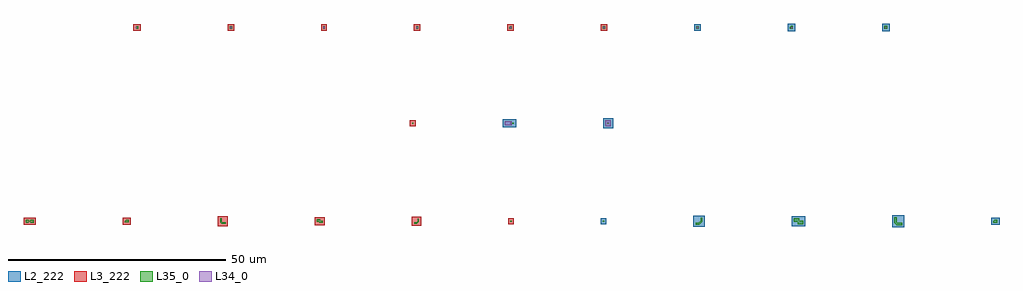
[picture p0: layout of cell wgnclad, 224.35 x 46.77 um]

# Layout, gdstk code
from math import pi, radians
import gdstk
lib = gdstk.Library(unit=1e-6, precision=5e-09)
def R(c, l, rs):  # rectangles x0, y0, x1, y1
    for r in rs: c.add(gdstk.rectangle(r[:2], r[2:], *l))
def P(c, l, *ps):  # polygons
    for p in ps: c.add(gdstk.Polygon(p, *l))
L2_222 = (2, 222)
L3_222 = (3, 222)
L34_0 = (34, 0)
L35_0 = (35, 0)

compass_3eb4a6c2 = lib.new_cell('compass_3eb4a6c2')
R(compass_3eb4a6c2, L35_0, [(-0.15,-0.15,0.15,0.15)])

rectangle_3eb4a6c2 = lib.new_cell('rectangle_3eb4a6c2')
rectangle_3eb4a6c2.add(gdstk.Reference(compass_3eb4a6c2, (0.15,0.15)))

width_basic_width0_3_lay = lib.new_cell('width_basic_width0.3_layer_(35, 0)')
width_basic_width0_3_lay.add(gdstk.Reference(rectangle_3eb4a6c2, (0,0)))

compass_be9f5536 = lib.new_cell('compass_be9f5536')
R(compass_be9f5536, L2_222, [(-0.65,-0.65,0.65,0.65)])

rectangle_be9f5536 = lib.new_cell('rectangle_be9f5536')
rectangle_be9f5536.add(gdstk.Reference(compass_be9f5536, (0.65,0.65)))

pass_fail_mk_32a2a43a = lib.new_cell('pass_fail_mk_32a2a43a')
pass_fail_mk_32a2a43a.add(gdstk.Reference(rectangle_be9f5536, (-0.5,-0.5)))
pass_fail_mk_32a2a43a.add(gdstk.Label('wgnclad.w.1', (-0.25,-0.25), layer=11, texttype=222))

compass_1de04595 = lib.new_cell('compass_1de04595')
R(compass_1de04595, L35_0, [(-0.145,-0.145,0.145,0.145)])

rectangle_1de04595 = lib.new_cell('rectangle_1de04595')
rectangle_1de04595.add(gdstk.Reference(compass_1de04595, (0.145,0.145)))

width_basic_width0_29_la = lib.new_cell('width_basic_width0.29_layer_(35, 0)')
width_basic_width0_29_la.add(gdstk.Reference(rectangle_1de04595, (0,0)))

compass_255b7973 = lib.new_cell('compass_255b7973')
R(compass_255b7973, L3_222, [(-0.645,-0.645,0.645,0.645)])

rectangle_255b7973 = lib.new_cell('rectangle_255b7973')
rectangle_255b7973.add(gdstk.Reference(compass_255b7973, (0.645,0.645)))

pass_fail_mk_e8df20d5 = lib.new_cell('pass_fail_mk_e8df20d5')
pass_fail_mk_e8df20d5.add(gdstk.Reference(rectangle_255b7973, (-0.5,-0.5)))
pass_fail_mk_e8df20d5.add(gdstk.Label('wgnclad.w.1', (-0.25,-0.25), layer=11, texttype=222))

extrude_b44e4594 = lib.new_cell('extrude_b44e4594')
P(extrude_b44e4594, L35_0, [(0,-0.2),(0.885,-0.2),(1.565,0.485),(1.565,1.365),(1.165,1.365),(1.165,0.65),(0.715,0.2),(0,0.2)])

width_45deg_width0_4_lay = lib.new_cell('width_45deg_width0.4_layer_(35, 0)')
width_45deg_width0_4_lay.add(gdstk.Reference(extrude_b44e4594, (0,0)))

compass_e8d45a11 = lib.new_cell('compass_e8d45a11')
R(compass_e8d45a11, L2_222, [(-1.285,-1.285,1.285,1.285)])

rectangle_e8d45a11 = lib.new_cell('rectangle_e8d45a11')
rectangle_e8d45a11.add(gdstk.Reference(compass_e8d45a11, (1.285,1.285)))

pass_fail_mk_358d4961 = lib.new_cell('pass_fail_mk_358d4961')
pass_fail_mk_358d4961.add(gdstk.Reference(rectangle_e8d45a11, (-0.5,-0.7)))
pass_fail_mk_358d4961.add(gdstk.Label('wgnclad.w.1', (-0.25,-0.45), layer=11, texttype=222))

extrude_67f34050 = lib.new_cell('extrude_67f34050')
P(extrude_67f34050, L35_0, [(0,-0.145),(0.64,-0.145),(1.135,0.35),(1.135,0.99),(0.845,0.99),(0.845,0.47),(0.52,0.145),(0,0.145)])

width_45deg_width0_29_la = lib.new_cell('width_45deg_width0.29_layer_(35, 0)')
width_45deg_width0_29_la.add(gdstk.Reference(extrude_67f34050, (0,0)))

compass_589e3109 = lib.new_cell('compass_589e3109')
R(compass_589e3109, L3_222, [(-1.07,-1.07,1.07,1.07)])

rectangle_589e3109 = lib.new_cell('rectangle_589e3109')
rectangle_589e3109.add(gdstk.Reference(compass_589e3109, (1.065,1.065)))

pass_fail_mk_90fb5c60 = lib.new_cell('pass_fail_mk_90fb5c60')
pass_fail_mk_90fb5c60.add(gdstk.Reference(rectangle_589e3109, (-0.5,-0.645)))
pass_fail_mk_90fb5c60.add(gdstk.Label('wgnclad.w.1', (-0.25,-0.395), layer=11, texttype=222))

boolean_8ca5d39f = lib.new_cell('boolean_8ca5d39f')
P(boolean_8ca5d39f, L35_0, [(1.2,0.8),(0.285,0.8),(0.285,1.315),(-0.915,1.315),(-0.915,0.515),(0,0.515),(0,0),(1.2,0)])

width_cor2cor_width0_4_l = lib.new_cell('width_cor2cor_width0.4_layer_(35, 0)')
width_cor2cor_width0_4_l.add(gdstk.Reference(boolean_8ca5d39f, (0,0)))

compass_4797e808 = lib.new_cell('compass_4797e808')
R(compass_4797e808, L2_222, [(-1.56,-1.16,1.56,1.16)])

rectangle_4797e808 = lib.new_cell('rectangle_4797e808')
rectangle_4797e808.add(gdstk.Reference(compass_4797e808, (1.56,1.16)))

pass_fail_mk_f3520097 = lib.new_cell('pass_fail_mk_f3520097')
pass_fail_mk_f3520097.add(gdstk.Reference(rectangle_4797e808, (-1.415,-0.5)))
pass_fail_mk_f3520097.add(gdstk.Label('wgnclad.w.1', (-1.165,-0.25), layer=11, texttype=222))

boolean_d1fc33bf = lib.new_cell('boolean_d1fc33bf')
P(boolean_d1fc33bf, L35_0, [(0.75,0.5),(0.175,0.5),(0.175,0.825),(-0.575,0.825),(-0.575,0.325),(0,0.325),(0,0),(0.75,0)])

width_cor2cor_width0_25_ = lib.new_cell('width_cor2cor_width0.25_layer_(35, 0)')
width_cor2cor_width0_25_.add(gdstk.Reference(boolean_d1fc33bf, (0,0)))

compass_1458ecf1 = lib.new_cell('compass_1458ecf1')
R(compass_1458ecf1, L3_222, [(-1.16,-0.91,1.16,0.91)])

rectangle_1458ecf1 = lib.new_cell('rectangle_1458ecf1')
rectangle_1458ecf1.add(gdstk.Reference(compass_1458ecf1, (1.16,0.91)))

pass_fail_mk_c01580fd = lib.new_cell('pass_fail_mk_c01580fd')
pass_fail_mk_c01580fd.add(gdstk.Reference(rectangle_1458ecf1, (-1.075,-0.5)))
pass_fail_mk_c01580fd.add(gdstk.Label('wgnclad.w.1', (-0.825,-0.25), layer=11, texttype=222))

boolean_b7aa2861 = lib.new_cell('boolean_b7aa2861')
R(boolean_b7aa2861, L35_0, [(0,-0.57,1.2,0), (-0.57,0,0,1.2)])
P(boolean_b7aa2861, L35_0, [(0,0),(-0.57,0),(-0.57,-0.005),(-0.565,-0.005),(0,-0.57),(0,-0.57)])

width_cor_45deg_width0_4 = lib.new_cell('width_cor_45deg_width0.4_layer_(35, 0)')
width_cor_45deg_width0_4.add(gdstk.Reference(boolean_b7aa2861, (0,0)))

compass_7145c64b = lib.new_cell('compass_7145c64b')
R(compass_7145c64b, L2_222, [(-1.385,-1.385,1.385,1.385)])

rectangle_7145c64b = lib.new_cell('rectangle_7145c64b')
rectangle_7145c64b.add(gdstk.Reference(compass_7145c64b, (1.385,1.385)))

pass_fail_mk_53cb693f = lib.new_cell('pass_fail_mk_53cb693f')
pass_fail_mk_53cb693f.add(gdstk.Reference(rectangle_7145c64b, (-1.07,-1.07)))
pass_fail_mk_53cb693f.add(gdstk.Label('wgnclad.w.1', (-0.82,-0.82), layer=11, texttype=222))

boolean_04b450e3 = lib.new_cell('boolean_04b450e3')
R(boolean_04b450e3, L35_0, [(0,-0.41,0.87,0), (-0.41,0,0,0.87)])
P(boolean_04b450e3, L35_0, [(0,0),(-0.41,0),(-0.41,-0.005),(-0.41,0),(0,-0.41),(0,-0.41),(0,-0.41)])

width_cor_45deg_width0_2 = lib.new_cell('width_cor_45deg_width0.29_layer_(35, 0)')
width_cor_45deg_width0_2.add(gdstk.Reference(boolean_04b450e3, (0,0)))

compass_3de67bf9 = lib.new_cell('compass_3de67bf9')
R(compass_3de67bf9, L3_222, [(-1.14,-1.14,1.14,1.14)])

rectangle_3de67bf9 = lib.new_cell('rectangle_3de67bf9')
rectangle_3de67bf9.add(gdstk.Reference(compass_3de67bf9, (1.14,1.14)))

pass_fail_mk_0dec9eb7 = lib.new_cell('pass_fail_mk_0dec9eb7')
pass_fail_mk_0dec9eb7.add(gdstk.Reference(rectangle_3de67bf9, (-0.91,-0.91)))
pass_fail_mk_0dec9eb7.add(gdstk.Label('wgnclad.w.1', (-0.66,-0.66), layer=11, texttype=222))

boolean_30fd8b37 = lib.new_cell('boolean_30fd8b37')
P(boolean_30fd8b37, L35_0, [(0.9,0.6),(0.3,0.6),(0,0.3),(0,0),(0.9,0)])

width_cor_45deg_width0_3 = lib.new_cell('width_cor_45deg_width0.3_layer_(35, 0)')
width_cor_45deg_width0_3.add(gdstk.Reference(boolean_30fd8b37, (0,0)))

compass_9f054f90 = lib.new_cell('compass_9f054f90')
R(compass_9f054f90, L2_222, [(-0.95,-0.8,0.95,0.8)])

rectangle_9f054f90 = lib.new_cell('rectangle_9f054f90')
rectangle_9f054f90.add(gdstk.Reference(compass_9f054f90, (0.95,0.8)))

pass_fail_mk_a3b92ec0 = lib.new_cell('pass_fail_mk_a3b92ec0')
pass_fail_mk_a3b92ec0.add(gdstk.Reference(rectangle_9f054f90, (-0.5,-0.5)))
pass_fail_mk_a3b92ec0.add(gdstk.Label('wgnclad.w.1', (-0.25,-0.25), layer=11, texttype=222))

boolean_7dfdd160 = lib.new_cell('boolean_7dfdd160')
P(boolean_7dfdd160, L35_0, [(0.87,0.58),(0.29,0.58),(0,0.29),(0,0),(0.87,0)])

c_width_cor_45deg_width0_2 = lib.new_cell('width_cor_45deg_width0.29_layer_(35, 0)$1')
c_width_cor_45deg_width0_2.add(gdstk.Reference(boolean_7dfdd160, (0,0)))

compass_0d8fa47e = lib.new_cell('compass_0d8fa47e')
R(compass_0d8fa47e, L3_222, [(-0.935,-0.79,0.935,0.79)])

rectangle_0d8fa47e = lib.new_cell('rectangle_0d8fa47e')
rectangle_0d8fa47e.add(gdstk.Reference(compass_0d8fa47e, (0.935,0.79)))

pass_fail_mk_65f86433 = lib.new_cell('pass_fail_mk_65f86433')
pass_fail_mk_65f86433.add(gdstk.Reference(rectangle_0d8fa47e, (-0.5,-0.5)))
pass_fail_mk_65f86433.add(gdstk.Label('wgnclad.w.1', (-0.25,-0.25), layer=11, texttype=222))

boolean_03bebe22 = lib.new_cell('boolean_03bebe22')
P(boolean_03bebe22, L35_0, [(0.6,0.6),(0,0.6),(0,0.6),(-0.3,0.3),(0,0),(0,0),(0.6,0)])

width_singular_width0_3_ = lib.new_cell('width_singular_width0.3_layer_(35, 0)')
width_singular_width0_3_.add(gdstk.Reference(boolean_03bebe22, (0,0)))
width_singular_width0_3_.add(gdstk.Reference(boolean_03bebe22, (-0.6,0.6), rotation=pi))

compass_d99c9862 = lib.new_cell('compass_d99c9862')
R(compass_d99c9862, L3_222, [(-1.4,-0.8,1.4,0.8)])

rectangle_d99c9862 = lib.new_cell('rectangle_d99c9862')
rectangle_d99c9862.add(gdstk.Reference(compass_d99c9862, (1.4,0.8)))

pass_fail_mk_4eae2fb8 = lib.new_cell('pass_fail_mk_4eae2fb8')
pass_fail_mk_4eae2fb8.add(gdstk.Reference(rectangle_d99c9862, (-1.7,-0.5)))
pass_fail_mk_4eae2fb8.add(gdstk.Label('wgnclad.w.1', (-1.45,-0.25), layer=11, texttype=222))

width_patterns_width0_3_ = lib.new_cell('width_patterns_width0.3_layer(35, 0)')
width_patterns_width0_3_.add(gdstk.Reference(width_basic_width0_3_lay, (0,0)))
width_patterns_width0_3_.add(gdstk.Reference(pass_fail_mk_32a2a43a, (0,0)))
width_patterns_width0_3_.add(gdstk.Reference(width_basic_width0_29_la, (-21.29,0.005)))
width_patterns_width0_3_.add(gdstk.Reference(pass_fail_mk_e8df20d5, (-21.29,0.005)))
width_patterns_width0_3_.add(gdstk.Reference(width_45deg_width0_4_lay, (21.3,-0.435)))
width_patterns_width0_3_.add(gdstk.Reference(pass_fail_mk_358d4961, (21.3,-0.435)))
width_patterns_width0_3_.add(gdstk.Reference(width_45deg_width0_29_la, (-43.425,-0.275)))
width_patterns_width0_3_.add(gdstk.Reference(pass_fail_mk_90fb5c60, (-43.425,-0.275)))
width_patterns_width0_3_.add(gdstk.Reference(width_cor2cor_width0_4_l, (44.785,-0.51)))
width_patterns_width0_3_.add(gdstk.Reference(pass_fail_mk_f3520097, (44.785,-0.51)))
width_patterns_width0_3_.add(gdstk.Reference(width_cor2cor_width0_25_, (-65.175,-0.26)))
width_patterns_width0_3_.add(gdstk.Reference(pass_fail_mk_c01580fd, (-65.175,-0.26)))
width_patterns_width0_3_.add(gdstk.Reference(width_cor_45deg_width0_4, (67.55,-0.165)))
width_patterns_width0_3_.add(gdstk.Reference(pass_fail_mk_53cb693f, (67.55,-0.165)))
width_patterns_width0_3_.add(gdstk.Reference(width_cor_45deg_width0_2, (-87.62,-0.08)))
width_patterns_width0_3_.add(gdstk.Reference(pass_fail_mk_0dec9eb7, (-87.62,-0.08)))
width_patterns_width0_3_.add(gdstk.Reference(width_cor_45deg_width0_3, (89.75,-0.15)))
width_patterns_width0_3_.add(gdstk.Reference(pass_fail_mk_a3b92ec0, (89.75,-0.15)))
width_patterns_width0_3_.add(gdstk.Reference(c_width_cor_45deg_width0_2, (-109.9,-0.14)))
width_patterns_width0_3_.add(gdstk.Reference(pass_fail_mk_65f86433, (-109.9,-0.14)))
width_patterns_width0_3_.add(gdstk.Reference(width_singular_width0_3_, (-131.5,-0.15)))
width_patterns_width0_3_.add(gdstk.Reference(pass_fail_mk_4eae2fb8, (-131.5,-0.15)))

compass_4fdec5c8 = lib.new_cell('compass_4fdec5c8')
R(compass_4fdec5c8, L35_0, [(-0.4,-0.15,0.4,0.15)])

rectangle_4fdec5c8 = lib.new_cell('rectangle_4fdec5c8')
rectangle_4fdec5c8.add(gdstk.Reference(compass_4fdec5c8, (0.4,0.15)))

compass_layerwgn_size1p6 = lib.new_cell('compass_layerWGN_size1p6__0p9')
R(compass_layerwgn_size1p6, L34_0, [(-0.8,-0.45,0.8,0.45)])

rectangle_layerwgn_size1 = lib.new_cell('rectangle_layerWGN_size1p6__0p9')
rectangle_layerwgn_size1.add(gdstk.Reference(compass_layerwgn_size1p6, (0.8,0.45)))

overlap_past_basic_over0 = lib.new_cell('overlap_past_basic_over0.5_width0.3_layer_(35, 0)_over_layerWGN')
overlap_past_basic_over0.add(gdstk.Reference(rectangle_4fdec5c8, (0.9,0)))
overlap_past_basic_over0.add(gdstk.Reference(rectangle_layerwgn_size1, (-0.4,-0.3)))

compass_c33485da = lib.new_cell('compass_c33485da')
R(compass_c33485da, L2_222, [(-1.55,-0.95,1.55,0.95)])

rectangle_c33485da = lib.new_cell('rectangle_c33485da')
rectangle_c33485da.add(gdstk.Reference(compass_c33485da, (1.55,0.95)))

pass_fail_mk_386ec20a = lib.new_cell('pass_fail_mk_386ec20a')
pass_fail_mk_386ec20a.add(gdstk.Reference(rectangle_c33485da, (-0.9,-0.8)))
pass_fail_mk_386ec20a.add(gdstk.Label('wgnclad.i.1', (-0.65,-0.55), layer=11, texttype=222))

non_overlap_basic_width0 = lib.new_cell('non_overlap_basic_width0.3_layer_(35, 0)')
non_overlap_basic_width0.add(gdstk.Reference(rectangle_3eb4a6c2, (0,0)))

compass_f4e40a53 = lib.new_cell('compass_f4e40a53')
R(compass_f4e40a53, L3_222, [(-0.65,-0.65,0.65,0.65)])

rectangle_f4e40a53 = lib.new_cell('rectangle_f4e40a53')
rectangle_f4e40a53.add(gdstk.Reference(compass_f4e40a53, (0.65,0.65)))

pass_fail_mk_f6ad4b71 = lib.new_cell('pass_fail_mk_f6ad4b71')
pass_fail_mk_f6ad4b71.add(gdstk.Reference(rectangle_f4e40a53, (-0.5,-0.5)))
pass_fail_mk_f6ad4b71.add(gdstk.Label('wgnclad.i.1', (-0.25,-0.25), layer=11, texttype=222))

compass_layerwgn_size1p3 = lib.new_cell('compass_layerWGN_size1p3__1p3')
R(compass_layerwgn_size1p3, L34_0, [(-0.65,-0.65,0.65,0.65)])

c_rectangle_layerwgn_size1 = lib.new_cell('rectangle_layerWGN_size1p3__1p3')
c_rectangle_layerwgn_size1.add(gdstk.Reference(compass_layerwgn_size1p3, (0.65,0.65)))

overlap_enclosed_over0_5 = lib.new_cell('overlap_enclosed_over0.5_width0.3_layer_(35, 0)_over_layerWGN')
overlap_enclosed_over0_5.add(gdstk.Reference(rectangle_3eb4a6c2, (0,0)))
overlap_enclosed_over0_5.add(gdstk.Reference(c_rectangle_layerwgn_size1, (-0.5,-0.5)))

compass_6398bd07 = lib.new_cell('compass_6398bd07')
R(compass_6398bd07, L2_222, [(-1.15,-1.15,1.15,1.15)])

rectangle_6398bd07 = lib.new_cell('rectangle_6398bd07')
rectangle_6398bd07.add(gdstk.Reference(compass_6398bd07, (1.15,1.15)))

pass_fail_mk_7df67db6 = lib.new_cell('pass_fail_mk_7df67db6')
pass_fail_mk_7df67db6.add(gdstk.Reference(rectangle_6398bd07, (-1,-1)))
pass_fail_mk_7df67db6.add(gdstk.Label('wgnclad.i.1', (-0.75,-0.75), layer=11, texttype=222))

overlapping_patterns_ove = lib.new_cell('overlapping_patterns_overlap0.5_layer(35, 0)')
overlapping_patterns_ove.add(gdstk.Reference(overlap_past_basic_over0, (0,0)))
overlapping_patterns_ove.add(gdstk.Reference(pass_fail_mk_386ec20a, (0,0)))
overlapping_patterns_ove.add(gdstk.Reference(non_overlap_basic_width0, (-21.7,0)))
overlapping_patterns_ove.add(gdstk.Reference(pass_fail_mk_f6ad4b71, (-21.7,0)))
overlapping_patterns_ove.add(gdstk.Reference(overlap_enclosed_over0_5, (23.2,0)))
overlapping_patterns_ove.add(gdstk.Reference(pass_fail_mk_7df67db6, (23.2,0)))

compass_layerwgn_size0p3 = lib.new_cell('compass_layerWGN_size0p3__0p3')
R(compass_layerwgn_size0p3, L34_0, [(-0.15,-0.15,0.15,0.15)])

rectangle_layerwgn_size0 = lib.new_cell('rectangle_layerWGN_size0p3__0p3')
rectangle_layerwgn_size0.add(gdstk.Reference(compass_layerwgn_size0p3, (0.15,0.15)))

compass_e93d3065 = lib.new_cell('compass_e93d3065')
R(compass_e93d3065, L35_0, [(-0.25,-0.25,0.25,0.25)])

rectangle_e93d3065 = lib.new_cell('rectangle_e93d3065')
rectangle_e93d3065.add(gdstk.Reference(compass_e93d3065, (0.25,0.25)))

enclose_basic_enc0_1_wid = lib.new_cell('enclose_basic_enc0.1_width0.3_layer_WGN_enc_layer(35, 0)')
enclose_basic_enc0_1_wid.add(gdstk.Reference(rectangle_layerwgn_size0, (0,0)))
enclose_basic_enc0_1_wid.add(gdstk.Reference(rectangle_e93d3065, (-0.1,-0.1)))

compass_b56db43c = lib.new_cell('compass_b56db43c')
R(compass_b56db43c, L2_222, [(-0.75,-0.75,0.75,0.75)])

rectangle_b56db43c = lib.new_cell('rectangle_b56db43c')
rectangle_b56db43c.add(gdstk.Reference(compass_b56db43c, (0.75,0.75)))

pass_fail_mk_786014a6 = lib.new_cell('pass_fail_mk_786014a6')
pass_fail_mk_786014a6.add(gdstk.Reference(rectangle_b56db43c, (-0.6,-0.6)))
pass_fail_mk_786014a6.add(gdstk.Label('wgnclad.en.1', (-0.35,-0.35), layer=11, texttype=222))

compass_716e4b86 = lib.new_cell('compass_716e4b86')
R(compass_716e4b86, L35_0, [(-0.24,-0.24,0.24,0.24)])

rectangle_716e4b86 = lib.new_cell('rectangle_716e4b86')
rectangle_716e4b86.add(gdstk.Reference(compass_716e4b86, (0.24,0.24)))

enclose_basic_enc0_09000 = lib.new_cell('enclose_basic_enc0.09000000000000001_width0.3_layer_WGN_enc_layer(35, 0)')
enclose_basic_enc0_09000.add(gdstk.Reference(rectangle_layerwgn_size0, (0,0)))
enclose_basic_enc0_09000.add(gdstk.Reference(rectangle_716e4b86, (-0.09,-0.09)))

compass_b3d391c4 = lib.new_cell('compass_b3d391c4')
R(compass_b3d391c4, L3_222, [(-0.74,-0.74,0.74,0.74)])

rectangle_b3d391c4 = lib.new_cell('rectangle_b3d391c4')
rectangle_b3d391c4.add(gdstk.Reference(compass_b3d391c4, (0.74,0.74)))

pass_fail_mk_1bd39afc = lib.new_cell('pass_fail_mk_1bd39afc')
pass_fail_mk_1bd39afc.add(gdstk.Reference(rectangle_b3d391c4, (-0.59,-0.59)))
pass_fail_mk_1bd39afc.add(gdstk.Label('wgnclad.en.1', (-0.34,-0.34), layer=11, texttype=222))

boolean_d607269f = lib.new_cell('boolean_d607269f')
P(boolean_d607269f, L34_0, [(0.3,0.3),(0.105,0.3),(0,0.195),(0,0),(0.3,0)])

boolean_a6d8e211 = lib.new_cell('boolean_a6d8e211')
P(boolean_a6d8e211, L35_0, [(0.5,0.5),(0.08,0.5),(-0.2,0.22),(-0.2,-0.2),(0.5,-0.2)])

enclose_45deg_enc0_2_wid = lib.new_cell('enclose_45deg_enc0.2_width0.3_layer_WGN_enc_layer(35, 0)')
enclose_45deg_enc0_2_wid.add(gdstk.Reference(boolean_d607269f, (0,0)))
enclose_45deg_enc0_2_wid.add(gdstk.Reference(boolean_a6d8e211, (0,0)))

compass_b2efa8bb = lib.new_cell('compass_b2efa8bb')
R(compass_b2efa8bb, L2_222, [(-0.85,-0.85,0.85,0.85)])

rectangle_b2efa8bb = lib.new_cell('rectangle_b2efa8bb')
rectangle_b2efa8bb.add(gdstk.Reference(compass_b2efa8bb, (0.85,0.85)))

pass_fail_mk_05d6ea92 = lib.new_cell('pass_fail_mk_05d6ea92')
pass_fail_mk_05d6ea92.add(gdstk.Reference(rectangle_b2efa8bb, (-0.7,-0.7)))
pass_fail_mk_05d6ea92.add(gdstk.Label('wgnclad.en.1', (-0.45,-0.45), layer=11, texttype=222))

boolean_92af2249 = lib.new_cell('boolean_92af2249')
P(boolean_92af2249, L35_0, [(0.39,0.39),(0.12,0.39),(-0.09,0.18),(-0.09,-0.09),(0.39,-0.09)])

enclose_45deg_enc0_09000 = lib.new_cell('enclose_45deg_enc0.09000000000000001_width0.3_layer_WGN_enc_layer(35, 0)')
enclose_45deg_enc0_09000.add(gdstk.Reference(boolean_d607269f, (0,0)))
enclose_45deg_enc0_09000.add(gdstk.Reference(boolean_92af2249, (0,0)))

pass_fail_mk_b95b1410 = lib.new_cell('pass_fail_mk_b95b1410')
pass_fail_mk_b95b1410.add(gdstk.Reference(rectangle_b3d391c4, (-0.59,-0.59)))
pass_fail_mk_b95b1410.add(gdstk.Label('wgnclad.en.1', (-0.34,-0.34), layer=11, texttype=222))

boolean_ea559404 = lib.new_cell('boolean_ea559404')
P(boolean_ea559404, L35_0, [(0.5,0.5),(-0.085,0.5),(-0.2,0.385),(-0.2,-0.2),(0.5,-0.2)])

enclose_cor2edge_enc0_2_ = lib.new_cell('enclose_cor2edge_enc0.2_width0.3_layer_WGN_enc_layer(35, 0)')
enclose_cor2edge_enc0_2_.add(gdstk.Reference(rectangle_layerwgn_size0, (0,0)))
enclose_cor2edge_enc0_2_.add(gdstk.Reference(boolean_ea559404, (0,0)))

pass_fail_mk_e49ca74f = lib.new_cell('pass_fail_mk_e49ca74f')
pass_fail_mk_e49ca74f.add(gdstk.Reference(rectangle_b2efa8bb, (-0.7,-0.7)))
pass_fail_mk_e49ca74f.add(gdstk.Label('wgnclad.en.1', (-0.45,-0.45), layer=11, texttype=222))

boolean_69d07ed9 = lib.new_cell('boolean_69d07ed9')
P(boolean_69d07ed9, L35_0, [(0.39,0.39),(-0.04,0.39),(-0.09,0.34),(-0.09,-0.09),(0.39,-0.09)])

enclose_cor2edge_enc0_09 = lib.new_cell('enclose_cor2edge_enc0.09000000000000001_width0.3_layer_WGN_enc_layer(35, 0)')
enclose_cor2edge_enc0_09.add(gdstk.Reference(rectangle_layerwgn_size0, (0,0)))
enclose_cor2edge_enc0_09.add(gdstk.Reference(boolean_69d07ed9, (0,0)))

pass_fail_mk_cccecbb8 = lib.new_cell('pass_fail_mk_cccecbb8')
pass_fail_mk_cccecbb8.add(gdstk.Reference(rectangle_b3d391c4, (-0.59,-0.59)))
pass_fail_mk_cccecbb8.add(gdstk.Label('wgnclad.en.1', (-0.34,-0.34), layer=11, texttype=222))

compass_d345ef73 = lib.new_cell('compass_d345ef73')
R(compass_d345ef73, L35_0, [(-0.15,-0.24,0.15,0.24)])

rectangle_d345ef73 = lib.new_cell('rectangle_d345ef73')
rectangle_d345ef73.add(gdstk.Reference(compass_d345ef73, (0.15,0.24)))

enclose_touch_enc0_09000 = lib.new_cell('enclose_touch_enc0.09000000000000001_width0.3_layer_WGN_enc_layer(35, 0)')
enclose_touch_enc0_09000.add(gdstk.Reference(rectangle_layerwgn_size0, (0,0)))
enclose_touch_enc0_09000.add(gdstk.Reference(rectangle_d345ef73, (0,-0.09)))

compass_9bee7745 = lib.new_cell('compass_9bee7745')
R(compass_9bee7745, L3_222, [(-0.65,-0.74,0.65,0.74)])

rectangle_9bee7745 = lib.new_cell('rectangle_9bee7745')
rectangle_9bee7745.add(gdstk.Reference(compass_9bee7745, (0.65,0.74)))

pass_fail_mk_ef1406a4 = lib.new_cell('pass_fail_mk_ef1406a4')
pass_fail_mk_ef1406a4.add(gdstk.Reference(rectangle_9bee7745, (-0.5,-0.59)))
pass_fail_mk_ef1406a4.add(gdstk.Label('wgnclad.en.1', (-0.25,-0.34), layer=11, texttype=222))

boolean_527949ca = lib.new_cell('boolean_527949ca')
P(boolean_527949ca, L35_0, [(0.4,0.4),(-0.1,0.4),(-0.1,0.04),(0.04,0.04),(0.04,0.26),(0.26,0.26),(0.26,0.04),(0.04,0.04),(-0.1,0.04),(-0.1,-0.1),(0.4,-0.1)])

enclose_hole_enc0_1_widt = lib.new_cell('enclose_hole_enc0.1_width0.3_layer_WGN_enc_layer(35, 0)')
enclose_hole_enc0_1_widt.add(gdstk.Reference(rectangle_layerwgn_size0, (0,0)))
enclose_hole_enc0_1_widt.add(gdstk.Reference(boolean_527949ca, (0,0)))

compass_1daf0591 = lib.new_cell('compass_1daf0591')
R(compass_1daf0591, L3_222, [(-0.75,-0.75,0.75,0.75)])

rectangle_1daf0591 = lib.new_cell('rectangle_1daf0591')
rectangle_1daf0591.add(gdstk.Reference(compass_1daf0591, (0.75,0.75)))

pass_fail_mk_f2ddcfe9 = lib.new_cell('pass_fail_mk_f2ddcfe9')
pass_fail_mk_f2ddcfe9.add(gdstk.Reference(rectangle_1daf0591, (-0.6,-0.6)))
pass_fail_mk_f2ddcfe9.add(gdstk.Label('wgnclad.en.1', (-0.35,-0.35), layer=11, texttype=222))

enclose_intersect_enc0_1 = lib.new_cell('enclose_intersect_enc0.1_width0.3_layer_WGN_enc_layer(35, 0)')
enclose_intersect_enc0_1.add(gdstk.Reference(rectangle_layerwgn_size0, (-0.25,0)))
enclose_intersect_enc0_1.add(gdstk.Reference(rectangle_e93d3065, (-0.1,-0.1)))

compass_ab8b9230 = lib.new_cell('compass_ab8b9230')
R(compass_ab8b9230, L3_222, [(-0.825,-0.75,0.825,0.75)])

rectangle_ab8b9230 = lib.new_cell('rectangle_ab8b9230')
rectangle_ab8b9230.add(gdstk.Reference(compass_ab8b9230, (0.825,0.75)))

pass_fail_mk_2269caec = lib.new_cell('pass_fail_mk_2269caec')
pass_fail_mk_2269caec.add(gdstk.Reference(rectangle_ab8b9230, (-0.75,-0.6)))
pass_fail_mk_2269caec.add(gdstk.Label('wgnclad.en.1', (-0.5,-0.35), layer=11, texttype=222))

enclose_patterns_enclosu = lib.new_cell('enclose_patterns_enclosure0.1_width0.3_layerWGN_enc_layer(35, 0)')
enclose_patterns_enclosu.add(gdstk.Reference(enclose_basic_enc0_1_wid, (0,0)))
enclose_patterns_enclosu.add(gdstk.Reference(pass_fail_mk_786014a6, (0,0)))
enclose_patterns_enclosu.add(gdstk.Reference(enclose_basic_enc0_09000, (-21.49,0)))
enclose_patterns_enclosu.add(gdstk.Reference(pass_fail_mk_1bd39afc, (-21.49,0)))
enclose_patterns_enclosu.add(gdstk.Reference(enclose_45deg_enc0_2_wid, (21.6,0)))
enclose_patterns_enclosu.add(gdstk.Reference(pass_fail_mk_05d6ea92, (21.6,0)))
enclose_patterns_enclosu.add(gdstk.Reference(enclose_45deg_enc0_09000, (-42.97,0)))
enclose_patterns_enclosu.add(gdstk.Reference(pass_fail_mk_b95b1410, (-42.97,0)))
enclose_patterns_enclosu.add(gdstk.Reference(enclose_cor2edge_enc0_2_, (43.3,0)))
enclose_patterns_enclosu.add(gdstk.Reference(pass_fail_mk_e49ca74f, (43.3,0)))
enclose_patterns_enclosu.add(gdstk.Reference(enclose_cor2edge_enc0_09, (-64.45,0)))
enclose_patterns_enclosu.add(gdstk.Reference(pass_fail_mk_cccecbb8, (-64.45,0)))
enclose_patterns_enclosu.add(gdstk.Reference(enclose_touch_enc0_09000, (-85.84,0)))
enclose_patterns_enclosu.add(gdstk.Reference(pass_fail_mk_ef1406a4, (-85.84,0)))
enclose_patterns_enclosu.add(gdstk.Reference(enclose_hole_enc0_1_widt, (-107.24,0)))
enclose_patterns_enclosu.add(gdstk.Reference(pass_fail_mk_f2ddcfe9, (-107.24,0)))
enclose_patterns_enclosu.add(gdstk.Reference(enclose_intersect_enc0_1, (-128.74,0)))
enclose_patterns_enclosu.add(gdstk.Reference(pass_fail_mk_2269caec, (-128.74,0)))

wgnclad = lib.new_cell('wgnclad')
wgnclad.add(gdstk.Reference(width_patterns_width0_3_, (0,0)))
wgnclad.add(gdstk.Reference(overlapping_patterns_ove, (-22.175,22.535)))
wgnclad.add(gdstk.Reference(enclose_patterns_enclosu, (21.57,44.535)))

lib.write_gds('wgnclad.gds')
